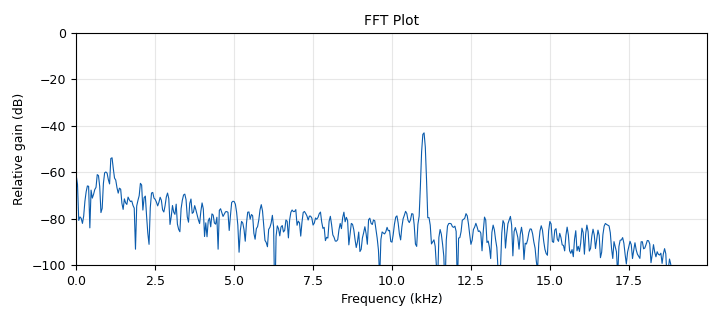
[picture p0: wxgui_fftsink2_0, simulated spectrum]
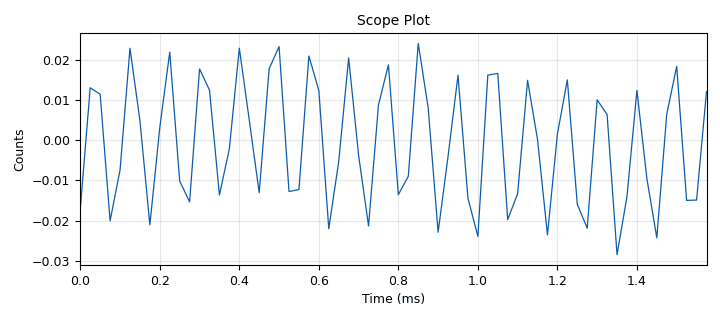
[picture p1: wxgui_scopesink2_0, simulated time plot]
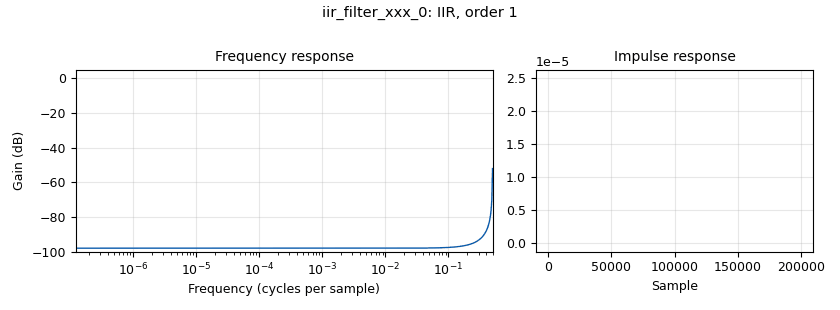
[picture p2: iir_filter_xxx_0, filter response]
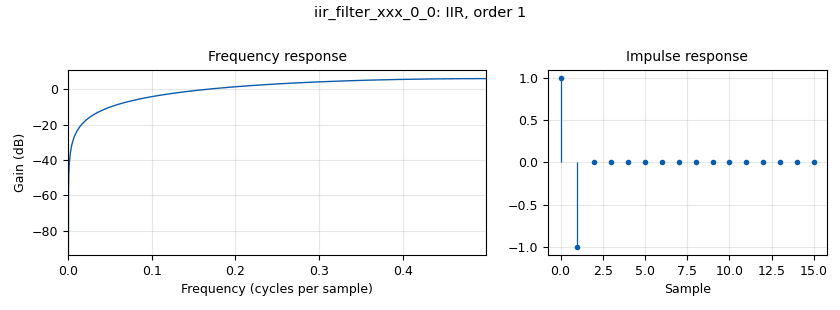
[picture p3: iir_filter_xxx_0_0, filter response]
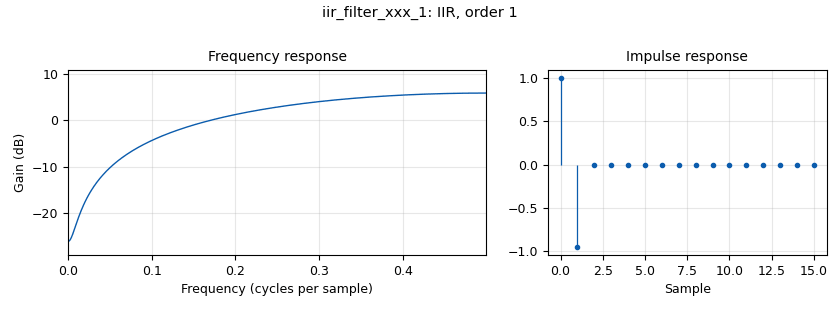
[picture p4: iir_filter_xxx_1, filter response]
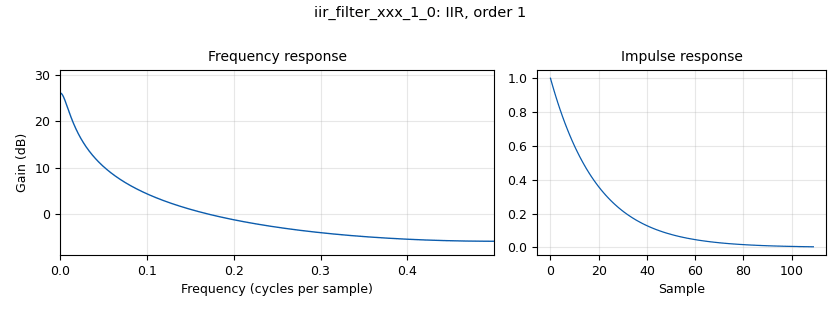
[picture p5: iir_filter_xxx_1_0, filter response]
<?xml version='1.0' encoding='utf-8'?>
<?grc format='1' created='3.7.10'?>
<flow_graph>
<block>
<key>options</key>
<param><key>id</key><value>top_block</value></param>
<param><key>generate_options</key><value>wx_gui</value></param>
</block>
<block>
<key>variable</key>
<param><key>id</key><value>samp_rate</value></param>
<param><key>value</key><value>40e3</value></param>
</block>
<block>
<key>analog_noise_source_x</key>
<param><key>id</key><value>analog_noise_source_x_0</value></param>
<param><key>amp</key><value>0.01</value></param>
<param><key>noise_type</key><value>analog.GR_GAUSSIAN</value></param>
<param><key>type</key><value>complex</value></param>
<param><key>seed</key><value>0</value></param>
</block>
<block>
<key>analog_phase_modulator_fc</key>
<param><key>id</key><value>analog_phase_modulator_fc_0</value></param>
<param><key>sensitivity</key><value>6.28*75e3</value></param>
</block>
<block>
<key>analog_sig_source_x</key>
<param><key>id</key><value>analog_sig_source_x_0</value></param>
<param><key>amp</key><value>0.5</value></param>
<param><key>freq</key><value>1100</value></param>
<param><key>offset</key><value>0</value></param>
<param><key>type</key><value>float</value></param>
<param><key>samp_rate</key><value>samp_rate</value></param>
<param><key>waveform</key><value>analog.GR_COS_WAVE</value></param>
</block>
<block>
<key>analog_sig_source_x</key>
<param><key>id</key><value>analog_sig_source_x_0_0</value></param>
<param><key>amp</key><value>0.5</value></param>
<param><key>freq</key><value>11000</value></param>
<param><key>offset</key><value>0</value></param>
<param><key>type</key><value>float</value></param>
<param><key>samp_rate</key><value>samp_rate</value></param>
<param><key>waveform</key><value>analog.GR_COS_WAVE</value></param>
</block>
<block>
<key>analog_sig_source_x</key>
<param><key>id</key><value>analog_sig_source_x_0_1</value></param>
<param><key>amp</key><value>1</value></param>
<param><key>freq</key><value>200e3</value></param>
<param><key>offset</key><value>0</value></param>
<param><key>type</key><value>complex</value></param>
<param><key>samp_rate</key><value>samp_rate*16</value></param>
<param><key>waveform</key><value>analog.GR_SIN_WAVE</value></param>
</block>
<block>
<key>blocks_add_xx</key>
<param><key>id</key><value>blocks_add_xx_0</value></param>
<param><key>type</key><value>complex</value></param>
</block>
<block>
<key>blocks_add_xx</key>
<param><key>id</key><value>blocks_add_xx_0_0</value></param>
<param><key>type</key><value>float</value></param>
</block>
<block>
<key>blocks_complex_to_mag</key>
<param><key>id</key><value>blocks_complex_to_mag_0</value></param>
</block>
<block>
<key>blocks_multiply_xx</key>
<param><key>id</key><value>blocks_multiply_xx_0</value></param>
<param><key>type</key><value>complex</value></param>
</block>
<block>
<key>blocks_throttle</key>
<param><key>id</key><value>blocks_throttle_0</value></param>
<param><key>samples_per_second</key><value>16*samp_rate</value></param>
<param><key>type</key><value>complex</value></param>
</block>
<block>
<key>dc_blocker_xx</key>
<param><key>id</key><value>dc_blocker_xx_0</value></param>
<param><key>length</key><value>32</value></param>
<param><key>long_form</key><value>True</value></param>
<param><key>type</key><value>ff</value></param>
</block>
<block>
<key>iir_filter_xxx</key>
<param><key>id</key><value>iir_filter_xxx_0</value></param>
<param><key>fftaps</key><value>1/samp_rate</value></param>
<param><key>fbtaps</key><value>[1,0.99]</value></param>
<param><key>oldstyle</key><value>False</value></param>
<param><key>type</key><value>ffd</value></param>
</block>
<block>
<key>iir_filter_xxx</key>
<param><key>id</key><value>iir_filter_xxx_0_0</value></param>
<param><key>fftaps</key><value>[1,-1]</value></param>
<param><key>fbtaps</key><value>1</value></param>
<param><key>type</key><value>ccz</value></param>
</block>
<block>
<key>iir_filter_xxx</key>
<param><key>id</key><value>iir_filter_xxx_1</value></param>
<param><key>fftaps</key><value>[1,-0.95]</value></param>
<param><key>fbtaps</key><value>[1,]</value></param>
<param><key>type</key><value>ffd</value></param>
</block>
<block>
<key>iir_filter_xxx</key>
<param><key>id</key><value>iir_filter_xxx_1_0</value></param>
<param><key>fftaps</key><value>[1,]</value></param>
<param><key>fbtaps</key><value>[1,0.95]</value></param>
<param><key>type</key><value>ffd</value></param>
</block>
<block>
<key>notebook</key>
<param><key>id</key><value>notebook</value></param>
<param><key>labels</key><value>[ 'modulated', 'FFT modulated']</value></param>
<param><key>style</key><value>wx.NB_TOP</value></param>
</block>
<block>
<key>rational_resampler_xxx</key>
<param><key>id</key><value>rational_resampler_xxx_0</value></param>
<param><key>decim</key><value>1</value></param>
<param><key>interp</key><value>16</value></param>
<param><key>taps</key><value></value></param>
<param><key>type</key><value>fff</value></param>
</block>
<block>
<key>rational_resampler_xxx</key>
<param><key>id</key><value>rational_resampler_xxx_1</value></param>
<param><key>decim</key><value>16</value></param>
<param><key>interp</key><value>1</value></param>
<param><key>taps</key><value></value></param>
<param><key>type</key><value>fff</value></param>
</block>
<block>
<key>wxgui_fftsink2</key>
<param><key>id</key><value>wxgui_fftsink2_0</value></param>
<param><key>avg_alpha</key><value>0</value></param>
<param><key>average</key><value>False</value></param>
<param><key>baseband_freq</key><value>0</value></param>
<param><key>fft_size</key><value>1024</value></param>
<param><key>freqvar</key><value>None</value></param>
<param><key>notebook</key><value>notebook,1</value></param>
<param><key>peak_hold</key><value>False</value></param>
<param><key>ref_level</key><value>0</value></param>
<param><key>ref_scale</key><value>2.0</value></param>
<param><key>fft_rate</key><value>15</value></param>
<param><key>samp_rate</key><value>samp_rate</value></param>
<param><key>title</key><value>FFT Plot</value></param>
<param><key>type</key><value>float</value></param>
<param><key>win</key><value>None</value></param>
<param><key>y_divs</key><value>10</value></param>
<param><key>y_per_div</key><value>10</value></param>
</block>
<block>
<key>wxgui_scopesink2</key>
<param><key>id</key><value>wxgui_scopesink2_0</value></param>
<param><key>ac_couple</key><value>False</value></param>
<param><key>notebook</key><value>notebook,0</value></param>
<param><key>num_inputs</key><value>1</value></param>
<param><key>samp_rate</key><value>samp_rate</value></param>
<param><key>t_scale</key><value>0</value></param>
<param><key>title</key><value>Scope Plot</value></param>
<param><key>trig_mode</key><value>wxgui.TRIG_MODE_AUTO</value></param>
<param><key>type</key><value>float</value></param>
<param><key>v_offset</key><value>0</value></param>
<param><key>v_scale</key><value>0</value></param>
<param><key>xy_mode</key><value>False</value></param>
<param><key>y_axis_label</key><value>Counts</value></param>
</block>
<connection><source_block_id>analog_noise_source_x_0</source_block_id><sink_block_id>blocks_add_xx_0</sink_block_id><source_key>0</source_key><sink_key>0</sink_key></connection>
<connection><source_block_id>analog_phase_modulator_fc_0</source_block_id><sink_block_id>blocks_multiply_xx_0</sink_block_id><source_key>0</source_key><sink_key>0</sink_key></connection>
<connection><source_block_id>analog_sig_source_x_0</source_block_id><sink_block_id>blocks_add_xx_0_0</sink_block_id><source_key>0</source_key><sink_key>0</sink_key></connection>
<connection><source_block_id>analog_sig_source_x_0_0</source_block_id><sink_block_id>blocks_add_xx_0_0</sink_block_id><source_key>0</source_key><sink_key>1</sink_key></connection>
<connection><source_block_id>analog_sig_source_x_0_1</source_block_id><sink_block_id>blocks_multiply_xx_0</sink_block_id><source_key>0</source_key><sink_key>1</sink_key></connection>
<connection><source_block_id>blocks_add_xx_0</source_block_id><sink_block_id>iir_filter_xxx_0_0</sink_block_id><source_key>0</source_key><sink_key>0</sink_key></connection>
<connection><source_block_id>blocks_add_xx_0_0</source_block_id><sink_block_id>iir_filter_xxx_0</sink_block_id><source_key>0</source_key><sink_key>0</sink_key></connection>
<connection><source_block_id>blocks_complex_to_mag_0</source_block_id><sink_block_id>rational_resampler_xxx_1</sink_block_id><source_key>0</source_key><sink_key>0</sink_key></connection>
<connection><source_block_id>blocks_multiply_xx_0</source_block_id><sink_block_id>blocks_throttle_0</sink_block_id><source_key>0</source_key><sink_key>0</sink_key></connection>
<connection><source_block_id>blocks_throttle_0</source_block_id><sink_block_id>blocks_add_xx_0</sink_block_id><source_key>0</source_key><sink_key>1</sink_key></connection>
<connection><source_block_id>dc_blocker_xx_0</source_block_id><sink_block_id>wxgui_fftsink2_0</sink_block_id><source_key>0</source_key><sink_key>0</sink_key></connection>
<connection><source_block_id>dc_blocker_xx_0</source_block_id><sink_block_id>wxgui_scopesink2_0</sink_block_id><source_key>0</source_key><sink_key>0</sink_key></connection>
<connection><source_block_id>iir_filter_xxx_0</source_block_id><sink_block_id>rational_resampler_xxx_0</sink_block_id><source_key>0</source_key><sink_key>0</sink_key></connection>
<connection><source_block_id>iir_filter_xxx_0_0</source_block_id><sink_block_id>blocks_complex_to_mag_0</sink_block_id><source_key>0</source_key><sink_key>0</sink_key></connection>
<connection><source_block_id>iir_filter_xxx_1</source_block_id><sink_block_id>analog_phase_modulator_fc_0</sink_block_id><source_key>0</source_key><sink_key>0</sink_key></connection>
<connection><source_block_id>iir_filter_xxx_1_0</source_block_id><sink_block_id>dc_blocker_xx_0</sink_block_id><source_key>0</source_key><sink_key>0</sink_key></connection>
<connection><source_block_id>rational_resampler_xxx_0</source_block_id><sink_block_id>iir_filter_xxx_1</sink_block_id><source_key>0</source_key><sink_key>0</sink_key></connection>
<connection><source_block_id>rational_resampler_xxx_1</source_block_id><sink_block_id>iir_filter_xxx_1_0</sink_block_id><source_key>0</source_key><sink_key>0</sink_key></connection>
</flow_graph>
